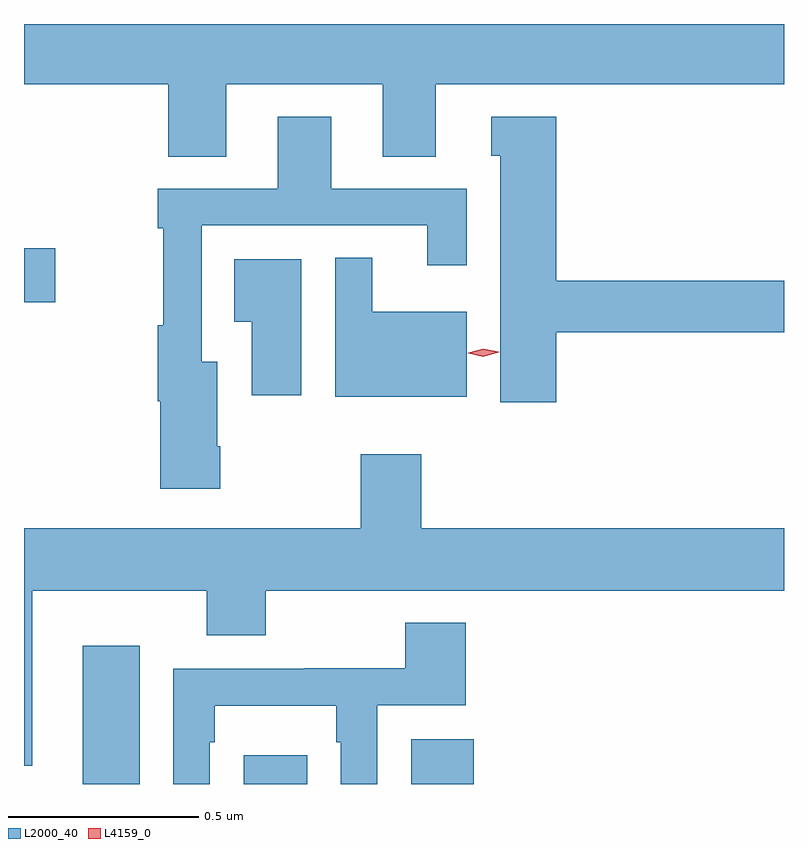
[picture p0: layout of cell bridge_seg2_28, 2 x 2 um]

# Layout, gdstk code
import gdstk
lib = gdstk.Library(unit=1e-6, precision=1e-09)
def R(c, l, rs):  # rectangles x0, y0, x1, y1
    for r in rs: c.add(gdstk.rectangle(r[:2], r[2:], *l))
def P(c, l, *ps):  # polygons
    for p in ps: c.add(gdstk.Polygon(p, *l))
L2000_40 = (2000, 40)
L4159_0 = (4159, 0)

bridge_seg2_28 = lib.new_cell('bridge_seg2_28')
R(bridge_seg2_28, L2000_40, [(774.308,601.839,774.457,602.203), (774.731,601.839,774.898,601.915), (775.172,601.839,775.336,601.957), (774.153,603.107,774.235,603.249)])
P(bridge_seg2_28, L2000_40, [(774.685,603.68),(775.097,603.68),(775.097,603.49),(775.237,603.49),(775.237,603.68),(776.153,603.68),(776.153,603.839),(774.153,603.839),(774.153,603.68),(774.533,603.68),(774.533,603.49),(774.685,603.49)],
  [(775.553,603.028),(776.153,603.028),(776.153,603.164),(775.553,603.164),(775.553,603.595),(775.382,603.595),(775.382,603.492),(775.406,603.492),(775.406,602.844),(775.553,602.844)],
  [(774.669,602.728),(774.661,602.728),(774.661,602.95),(774.621,602.95),(774.621,603.309),(775.214,603.309),(775.214,603.204),(775.318,603.204),(775.318,603.405),(774.961,603.405),(774.961,603.595),(774.821,603.595),(774.821,603.405),(774.505,603.405),(774.505,603.302),(774.52,603.302),(774.52,603.046),(774.505,603.046),(774.505,602.846),(774.512,602.846),(774.512,602.616),(774.669,602.616)],
  [(775.318,603.082),(775.069,603.082),(775.069,603.224),(774.972,603.224),(774.972,602.858),(775.318,602.858)],
  [(774.883,603.22),(774.706,603.22),(774.706,603.056),(774.752,603.056),(774.752,602.862),(774.883,602.862)],
  [(774.175,602.348),(774.634,602.348),(774.634,602.231),(774.789,602.231),(774.789,602.348),(776.153,602.348),(776.153,602.512),(775.199,602.512),(775.199,602.707),(775.039,602.707),(775.039,602.512),(774.153,602.512),(774.153,601.887),(774.175,601.887)],
  [(774.642,601.949),(774.655,601.949),(774.655,602.045),(774.975,602.045),(774.975,601.949),(774.987,601.949),(774.987,601.839),(775.083,601.839),(775.083,602.046),(775.316,602.046),(775.316,602.263),(775.156,602.263),(775.156,602.144),(774.89,602.144),(774.89,602.142),(774.546,602.142),(774.546,601.839),(774.642,601.839)])
P(bridge_seg2_28, L4159_0, [(775.362,602.964),(775.322,602.973),(775.322,602.973),(775.322,602.974),(775.362,602.984),(775.402,602.976),(775.402,602.976),(775.402,602.975)])

lib.write_gds('bridge_seg2_28.gds')
